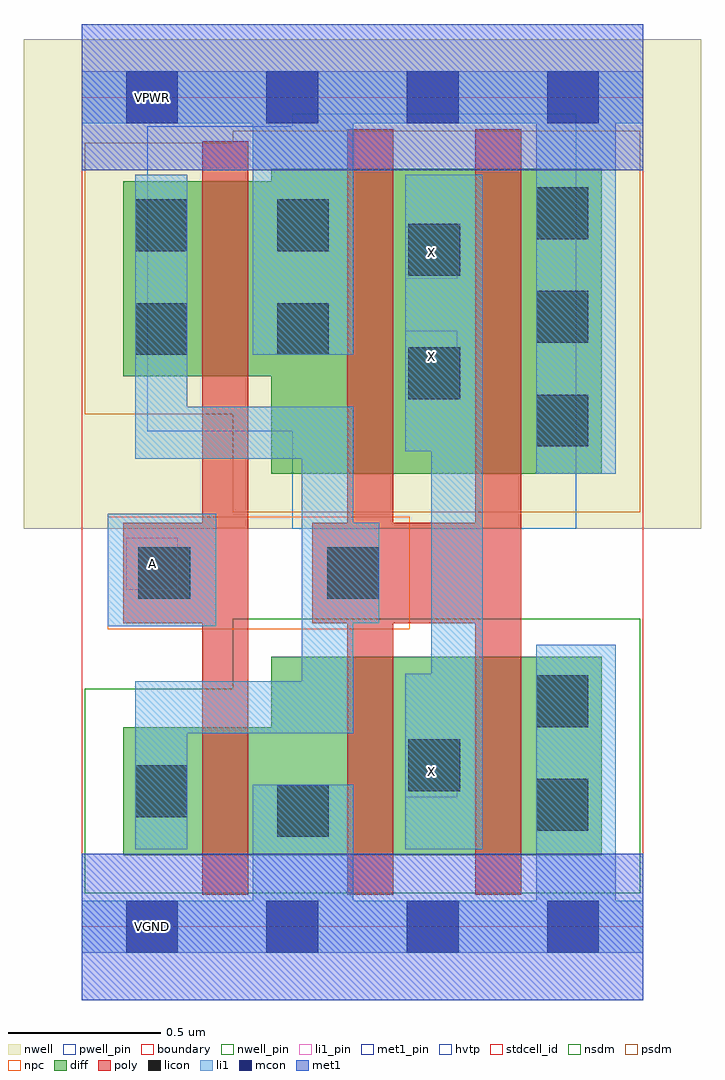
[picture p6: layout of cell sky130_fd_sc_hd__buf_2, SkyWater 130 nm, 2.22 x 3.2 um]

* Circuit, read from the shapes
.subckt sky130_fd_sc_hd__buf_2 A VGND VNB VPB VPWR X
XM1 VGND A n1 VNB sky130_fd_pr__nfet_01v8 w=0.42 l=0.15
XM2 X n1 VGND VNB sky130_fd_pr__nfet_01v8 w=0.65 l=0.15 m=2
XM3 VPWR A n1 VPB sky130_fd_pr__pfet_01v8_hvt w=0.64 l=0.15
XM4 X n1 VPWR VPB sky130_fd_pr__pfet_01v8_hvt w=1 l=0.15 m=2
.ends

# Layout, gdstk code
import gdstk
lib = gdstk.Library(unit=1e-6, precision=1e-09)
def R(c, l, rs):  # rectangles x0, y0, x1, y1
    for r in rs: c.add(gdstk.rectangle(r[:2], r[2:], *l))
def A(c, l, x, y, w, h, nx, ny, dx, dy):  # array of equal rectangles
    R(c, l, [(x+i*dx, y+j*dy, x+i*dx+w, y+j*dy+h) for i in range(nx) for j in range(ny)])
nwell_pin = (64, 16)
nwell = (64, 20)
diff = (65, 20)
poly = (66, 20)
licon = (66, 44)
li1_pin = (67, 16)
li1 = (67, 20)
mcon = (67, 44)
met1_pin = (68, 16)
met1 = (68, 20)
hvtp = (78, 44)
stdcell_id = (81, 4)
nsdm = (93, 44)
psdm = (94, 20)
npc = (95, 20)
pwell_pin = (122, 16)
boundary = (235, 4)

sky130_fd_sc_hd__buf_2 = lib.new_cell('sky130_fd_sc_hd__buf_2')
R(sky130_fd_sc_hd__buf_2, nwell_pin, [(0.145,2.635,0.315,2.805)])
R(sky130_fd_sc_hd__buf_2, nwell, [(-0.19,1.305,2.03,2.91)])
R(sky130_fd_sc_hd__buf_2, diff, [(0.135,0.235,1.705,0.655), (0.62,0.655,1.705,0.885), (0.62,1.485,1.705,1.805), (0.135,1.805,1.705,2.445), (0.62,2.445,1.705,2.485)])
R(sky130_fd_sc_hd__buf_2, poly, [(0.395,0.105,0.545,0.995), (0.87,0.105,1.02,0.995), (1.29,0.105,1.44,0.995), (0.135,0.995,0.545,1.325), (0.755,0.995,1.44,1.325), (0.395,1.325,0.545,2.575), (0.87,1.325,1.02,2.615), (1.29,1.325,1.44,2.615)])
A(sky130_fd_sc_hd__buf_2, licon, 1.49, 1.575, 0.17, 0.17, 1, 3, 0, 0.34)
R(sky130_fd_sc_hd__buf_2, licon, [(0.64,0.295,0.81,0.465), (1.49,0.315,1.66,0.485), (0.175,0.36,0.345,0.53), (1.07,0.445,1.24,0.615), (1.49,0.655,1.66,0.825), (0.185,1.075,0.355,1.245), (0.805,1.075,0.975,1.245), (1.07,1.73,1.24,1.9), (0.175,1.875,0.345,2.045), (0.64,1.875,0.81,2.045), (1.07,2.135,1.24,2.305), (0.175,2.215,0.345,2.385), (0.64,2.215,0.81,2.385)])
R(sky130_fd_sc_hd__buf_2, li1_pin, [(0.145,-0.085,0.315,0.085), (1.06,0.425,1.23,0.595), (0.145,1.105,0.315,1.275), (1.06,1.785,1.23,1.955), (1.06,2.125,1.23,2.295), (0.145,2.635,0.315,2.805)])
R(sky130_fd_sc_hd__buf_2, li1, [(0,-0.085,1.84,0.085), (0.56,0.085,0.89,0.465), (1.49,0.085,1.75,0.925), (0.175,0.255,0.345,0.635), (1.06,0.255,1.315,0.83), (0.175,0.635,0.89,0.805), (0.72,0.805,0.89,0.995), (1.145,0.83,1.315,1.56), (0.085,0.985,0.44,1.355), (0.72,0.995,0.975,1.325), (0.72,1.325,0.89,1.535), (1.49,1.485,1.75,2.635), (0.175,1.535,0.89,1.705), (1.06,1.56,1.315,2.465), (0.175,1.705,0.345,2.465), (0.56,1.875,0.89,2.635), (0,2.635,1.84,2.805)])
A(sky130_fd_sc_hd__buf_2, mcon, 0.145, -0.085, 0.17, 0.17, 4, 2, 0.46, 2.72)
R(sky130_fd_sc_hd__buf_2, met1_pin, [(0.145,-0.085,0.315,0.085), (0.145,2.635,0.315,2.805)])
R(sky130_fd_sc_hd__buf_2, met1, [(0,-0.24,1.84,0.24), (0,2.48,1.84,2.96)])
R(sky130_fd_sc_hd__buf_2, hvtp, [(0.69,1.305,1.62,1.625), (0.215,1.625,1.62,2.625), (0.69,2.625,1.62,2.665)])
R(sky130_fd_sc_hd__buf_2, stdcell_id, [(0,0,1.84,2.72)])
R(sky130_fd_sc_hd__buf_2, nsdm, [(0.01,0.11,1.83,0.78), (0.495,0.78,1.83,1.01)])
R(sky130_fd_sc_hd__buf_2, psdm, [(0.495,1.36,1.83,1.68), (0.01,1.68,1.83,2.57), (0.495,2.57,1.83,2.61)])
R(sky130_fd_sc_hd__buf_2, npc, [(0.085,0.975,1.075,1.345)])
R(sky130_fd_sc_hd__buf_2, pwell_pin, [(0.145,-0.085,0.315,0.085)])
R(sky130_fd_sc_hd__buf_2, boundary, [(0,0,1.84,2.72)])
sky130_fd_sc_hd__buf_2.add(gdstk.Label('VPWR', (0.23,2.72), layer=67, texttype=5))
sky130_fd_sc_hd__buf_2.add(gdstk.Label('VPWR', (0.23,2.72), layer=68, texttype=5))
sky130_fd_sc_hd__buf_2.add(gdstk.Label('VGND', (0.23,0), layer=67, texttype=5))
sky130_fd_sc_hd__buf_2.add(gdstk.Label('VGND', (0.23,0), layer=68, texttype=5))
sky130_fd_sc_hd__buf_2.add(gdstk.Label('X', (1.145,2.21), layer=67, texttype=5))
sky130_fd_sc_hd__buf_2.add(gdstk.Label('X', (1.145,1.87), layer=67, texttype=5))
sky130_fd_sc_hd__buf_2.add(gdstk.Label('X', (1.145,0.51), layer=67, texttype=5))
sky130_fd_sc_hd__buf_2.add(gdstk.Label('A', (0.23,1.19), layer=67, texttype=5))
sky130_fd_sc_hd__buf_2.add(gdstk.Label('VPB', (0.23,2.72), layer=64, texttype=5))
sky130_fd_sc_hd__buf_2.add(gdstk.Label('VNB', (0.23,0), layer=64, texttype=59))

lib.write_gds('sky130_fd_sc_hd__buf_2.gds')
